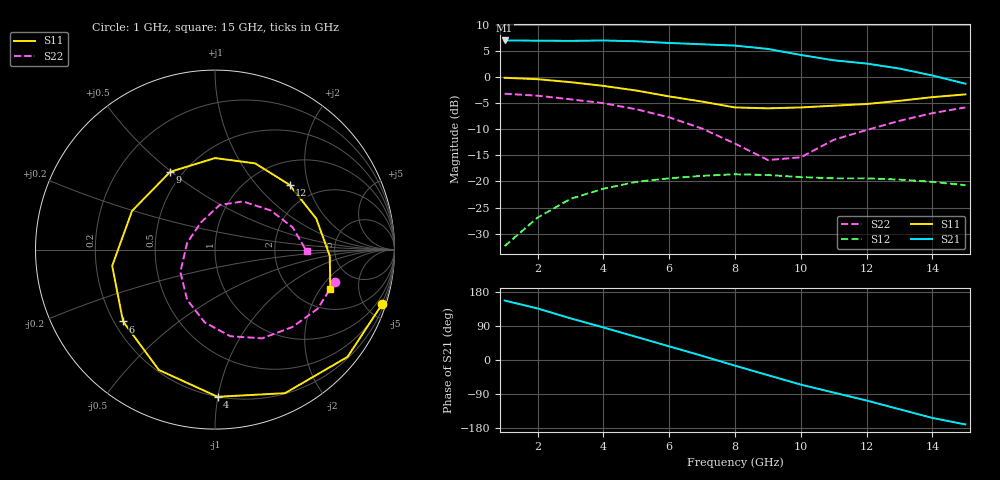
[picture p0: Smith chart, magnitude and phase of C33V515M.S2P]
! SIEMENS Small Signal Semiconductors
! CFY30
! GaAs FET in SOT143
! VDS = 3.5 V  ID = 15 mA
! Common Source S-Parameters:  August  1990
# GHz  S  MA  R  50
!  f  S11  S21  S12  S22
! GHz  MAG  ANG  MAG  ANG  MAG  ANG  MAG  ANG
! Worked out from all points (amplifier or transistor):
!   15 points, 1 GHz to 15 GHz, reference 50 ohm
!   highest |S21| = 7.0 dB at 1 GHz (marker M1)
!   |S21| within 3 dB of that: start of sweep to 10.22 GHz
!   unconditionally stable (mu >= 1): 5.217 GHz to end of sweep
!   at 3 GHz: K = 0.61, MSG = 15.1 dB, |S12| = -23.3 dB
!   at 8 GHz: K = 1.57, MAG = 7.9 dB, |S12| = -18.6 dB
!   at 15 GHz: K = 2.49, MAG = 2.9 dB, |S12| = -20.7 dB
!   lowest NFmin = 1.00 dB at 2 GHz
!   S11 on the Smith chart (normalised r, x): 1 GHz: 0.41, -6.29; 4 GHz: 0.20, -1.00; 6 GHz: 0.24, -0.33; 9 GHz: 0.43, +0.49; 12 GHz: 1.48, +1.53; 15 GHz: 3.05, -2.51
1  0.98 -18.0  2.23 157.0  0.024 74.0  0.69 -15.0
2  0.95 -39.0  2.22 136.0  0.045 57.0  0.66 -30.0
3  0.89 -64.0  2.21 110.0  0.068 40.0  0.61 -45.0
4  0.82 -89.0  2.23 86.0  0.085 23.0  0.56 -62.0
5  0.74 -115.0  2.19 61.0  0.099 7.0  0.49 -80.0
6  0.65 -142.0  2.11 36.0  0.107 -10.0  0.41 -98.0
7  0.58 -171.0  2.05 11.0  0.113 -26.0  0.32 -119.0
8  0.51 155.0  1.99 -15.0  0.117 -41.0  0.23 -147.0
9  0.5 120.0  1.85 -40.0  0.115 -56.0  0.16 167.0
10  0.51 90.0  1.62 -65.0  0.11 -69.0  0.17 118.0
11  0.53 65.0  1.44 -86.0  0.107 -80.0  0.25 84.0
12  0.55 41.0  1.34 -107.0  0.107 -92.0  0.31 60.0
13  0.59 17.0  1.2 -130.0  0.104 -105.0  0.38 35.0
14  0.64 -3.0  1.03 -153.0  0.099 -118.0  0.45 16.0
15  0.68 -19.0  0.86 -170.0  0.092 -131.0  0.51 -1.0
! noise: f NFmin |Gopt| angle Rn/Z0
2  1  0.72  27  0.84
4  1.4  0.64  61  0.58
6  2  0.46  101  0.38
8  2.5  0.31  153  0.18
10  3  0.34  -133  0.28
12  3.5  0.41  -93  0.56
